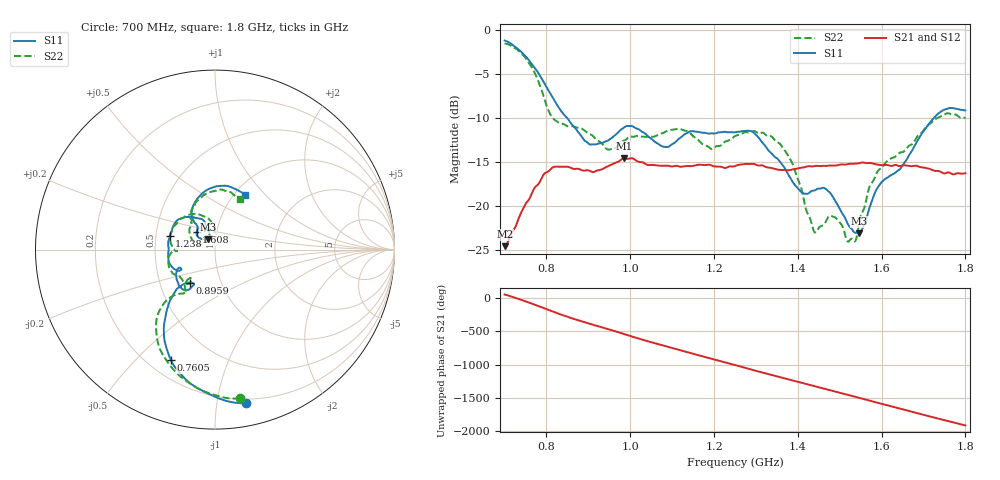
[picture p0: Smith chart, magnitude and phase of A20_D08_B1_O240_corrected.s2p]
! Created with skrf 1.9.0 (http://scikit-rf.org).
# Hz S RI R 50.0
!freq ReS11 ImS11 ReS21 ImS21 ReS12 ImS12 ReS22 ImS22
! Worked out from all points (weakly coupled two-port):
!   1601 points, 700 MHz to 1.8 GHz, reference 50 ohm
!   highest |S21| = -14.56 dB at 986 MHz (marker M1); lowest = -24.6 dB at 700.7 MHz (marker M2)
!   lowest |S11| = -23.1 dB at 1.546 GHz (marker M3), VSWR 1.15, Z = 46 + j5.34 ohm
!   |S11| at or under -10 dB: 849.4 MHz to 1.725 GHz (875.2 MHz wide, 68 % of centre)
!   |S22| runs from -24.1 to -1.5 dB; largest |S21 - S12| = 0.0037
!   S11 on the Smith chart (normalised r, x): 700 MHz: 0.17, -1.21; 760.5 MHz: 0.29, -0.64; 895.9 MHz: 0.71, -0.28; 1.238 GHz: 0.59, +0.09; 1.608 GHz: 0.80, +0.16; 1.8 GHz: 1.11, +0.78
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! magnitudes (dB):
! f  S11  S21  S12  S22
! 700 MHz  -1.2  -24.6  -24.4  -1.5
! 700.7 MHz  -1.2  -24.6  -24.3  -1.5
! 760.5 MHz  -3.6  -19.1  -18.9  -3.9
! 814.8 MHz  -7.7  -15.6  -15.7  -10.0
! 883.6 MHz  -12.1  -15.9  -15.8  -11.2
! 895.9 MHz  -12.7  -15.9  -16.0  -11.6
! 947.5 MHz  -12.5  -15.5  -15.5  -13.6
! 986 MHz  -11.0  -14.6  -14.7  -12.6
! 1.067 GHz  -13.0  -15.4  -15.4  -11.9
! 1.238 GHz  -11.6  -15.5  -15.6  -12.5
! 1.25 GHz  -11.6  -15.5  -15.4  -12.1
! 1.293 GHz  -11.6  -15.2  -15.3  -11.5
! 1.359 GHz  -15.1  -15.9  -15.9  -13.1
! 1.434 GHz  -18.3  -15.5  -15.5  -22.2
! 1.485 GHz  -19.1  -15.4  -15.4  -21.2
! 1.522 GHz  -22.3  -15.2  -15.2  -24.0
! 1.546 GHz  -23.1  -15.1  -15.1  -21.9
! 1.572 GHz  -20.0  -15.1  -15.1  -17.7
! 1.608 GHz  -16.9  -15.4  -15.4  -15.2
! 1.617 GHz  -16.7  -15.4  -15.4  -14.7
! 1.734 GHz  -9.5  -16.0  -16.1  -10.0
! 1.8 GHz  -9.1  -16.3  -16.3  -10.0
